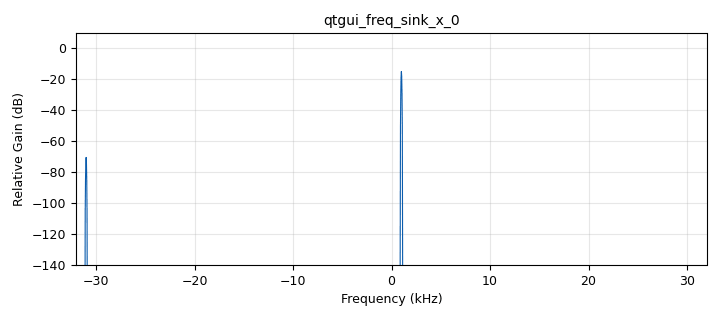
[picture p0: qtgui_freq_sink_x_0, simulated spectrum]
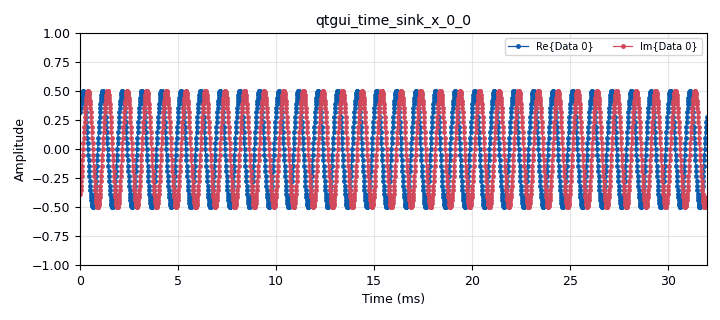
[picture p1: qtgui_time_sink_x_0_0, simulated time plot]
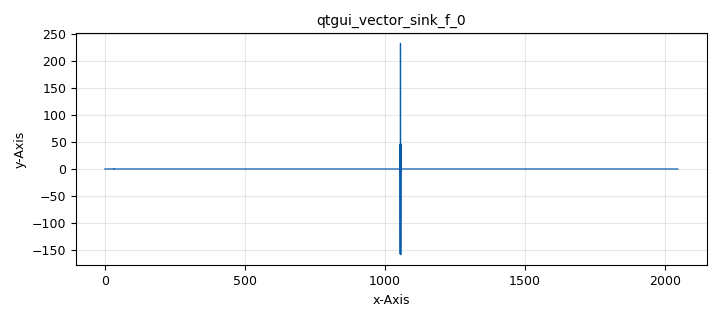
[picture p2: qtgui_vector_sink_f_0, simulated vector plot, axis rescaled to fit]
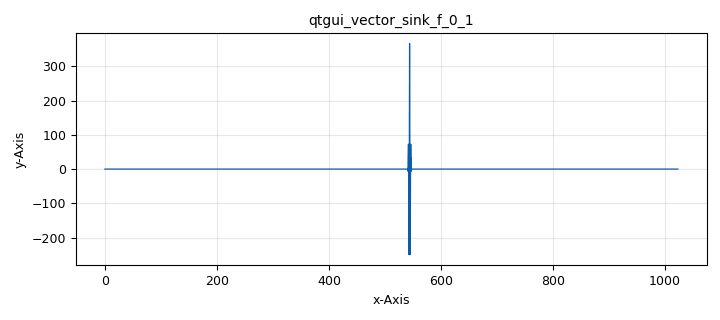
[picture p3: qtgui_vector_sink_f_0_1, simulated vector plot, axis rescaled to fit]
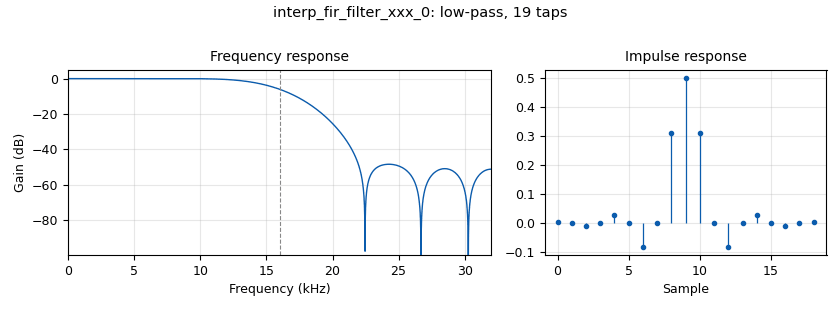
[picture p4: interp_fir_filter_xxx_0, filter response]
options:
  parameters:
    generate_options: qt_gui
    id: interpolationEx
    output_language: python
    title: Not titled yet
  states: {}

blocks:
- name: burst_len
  id: variable
  parameters:
    value: '1024'
  states: {}
- name: interpolation_rate
  id: variable
  parameters:
    value: '2'
  states: {}
- name: lowPassTaps
  id: variable_low_pass_filter_taps
  parameters:
    cutoff_freq: samp_rate_interpolated/(interpolation_rate*2)
    gain: '1.0'
    samp_rate: samp_rate_interpolated
    width: samp_rate_interpolated/(interpolation_rate*4)
    win: window.WIN_HAMMING
  states: {}
- name: samp_rate
  id: variable
  parameters:
    value: 32e3
  states: {}
- name: samp_rate_interpolated
  id: variable
  parameters:
    value: samp_rate*interpolation_rate
  states: {}
- name: analog_sig_source_x_0
  id: analog_sig_source_x
  parameters:
    amp: '1'
    freq: '1000'
    offset: '0'
    phase: '0'
    samp_rate: samp_rate
    type: complex
    waveform: analog.GR_COS_WAVE
  states: {}
- name: blocks_complex_to_real_0
  id: blocks_complex_to_real
  parameters:
    vlen: burst_len*interpolation_rate
  states: {}
- name: blocks_complex_to_real_0_0
  id: blocks_complex_to_real
  parameters:
    vlen: burst_len
  states: {}
- name: blocks_stream_to_vector_0
  id: blocks_stream_to_vector
  parameters:
    num_items: burst_len*interpolation_rate
    type: complex
  states: {}
- name: blocks_stream_to_vector_0_0
  id: blocks_stream_to_vector
  parameters:
    num_items: burst_len
    type: complex
  states: {}
- name: blocks_throttle2_0
  id: blocks_throttle2
  parameters:
    samples_per_second: samp_rate_interpolated
    type: complex
  states: {}
- name: fft_vxx_0
  id: fft_vxx
  parameters:
    fft_size: burst_len*interpolation_rate
    forward: 'True'
    shift: 'True'
    type: complex
    window: window.blackmanharris(burst_len*interpolation_rate)
  states: {}
- name: fft_vxx_0_0
  id: fft_vxx
  parameters:
    fft_size: burst_len
    forward: 'True'
    shift: 'True'
    type: complex
    window: window.blackmanharris(burst_len)
  states: {}
- name: interp_fir_filter_xxx_0
  id: interp_fir_filter_xxx
  parameters:
    interp: interpolation_rate
    taps: lowPassTaps
    type: ccc
  states: {}
- name: qtgui_freq_sink_x_0
  id: qtgui_freq_sink_x
  parameters:
    bw: samp_rate_interpolated
    fc: '0'
    fftsize: '2048'
    type: complex
  states: {}
- name: qtgui_time_sink_x_0_0
  id: qtgui_time_sink_x
  parameters:
    marker1: '0'
    marker2: '0'
    size: 1024*interpolation_rate
    srate: samp_rate_interpolated
    type: complex
  states: {}
- name: qtgui_vector_sink_f_0
  id: qtgui_vector_sink_f
  parameters:
    vlen: burst_len*interpolation_rate
    x_start: '0'
    x_step: '1.0'
  states: {}
- name: qtgui_vector_sink_f_0_1
  id: qtgui_vector_sink_f
  parameters:
    vlen: burst_len
    x_start: '0'
    x_step: '1.0'
  states: {}

connections:
- [analog_sig_source_x_0, '0', blocks_stream_to_vector_0_0, '0']
- [analog_sig_source_x_0, '0', interp_fir_filter_xxx_0, '0']
- [blocks_complex_to_real_0, '0', qtgui_vector_sink_f_0, '0']
- [blocks_complex_to_real_0_0, '0', qtgui_vector_sink_f_0_1, '0']
- [blocks_stream_to_vector_0, '0', fft_vxx_0, '0']
- [blocks_stream_to_vector_0_0, '0', fft_vxx_0_0, '0']
- [blocks_throttle2_0, '0', blocks_stream_to_vector_0, '0']
- [blocks_throttle2_0, '0', qtgui_freq_sink_x_0, '0']
- [fft_vxx_0, '0', blocks_complex_to_real_0, '0']
- [fft_vxx_0_0, '0', blocks_complex_to_real_0_0, '0']
- [interp_fir_filter_xxx_0, '0', blocks_throttle2_0, '0']
- [interp_fir_filter_xxx_0, '0', qtgui_time_sink_x_0_0, '0']

metadata:
  file_format: 1
  grc_version: v3.10.9.2-39-gcf065ee5
